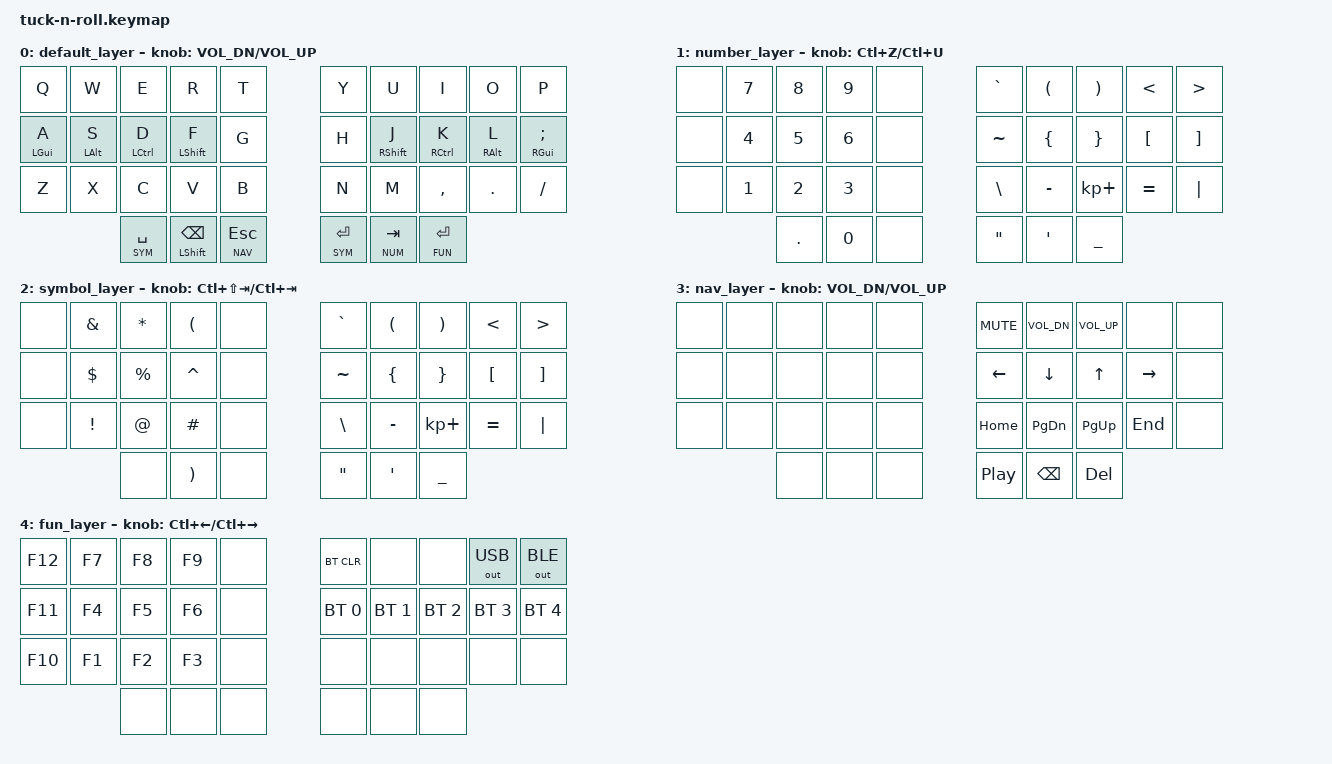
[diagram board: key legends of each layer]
#include <behaviors.dtsi>
#include <dt-bindings/zmk/keys.h>
#include <dt-bindings/zmk/bt.h>
#include <dt-bindings/zmk/outputs.h>

#define BASE 0
#define NUM 1
#define SYM 2
#define NAV 3
#define FUN 4


#define SPCTRL &sp LCTRL SPACE
#define SHFTAB &mt RSHFT TAB
#define BSPC_SHFT &mt LSHFT BSPC
#define SPACE_SYM &lt SYM SPACE
#define TAB_NUM &lt NUM TAB
#define RET_FUN &lt FUN RET
#define ESC_NAV &lt NAV ESC
#define RET_SYM &lt SYM RET

#define GUI_A &hm LGUI A
#define ALT_S &hm LALT S
#define CTRL_D &hm LCTRL D
#define SHFT_F &hm LSHFT F

#define SHFT_J &hm RSHFT J
#define CTRL_K &hm RCTRL K
#define ALT_L &hm RALT L
#define GUI_SEMI &hm RGUI SEMI

&lt {
	quick-tap-ms = <300>;
};

/ {
    combos {
      #include "combos.dtsi"
    };

    behaviors {
        sp: space_modtap {
            compatible = "zmk,behavior-hold-tap";
            label = "SPACE_MODTAP";
            #binding-cells = <2>;
            tapping-term-ms = <400>;
            quick_tap_ms = <0>;
            flavor = "tap-preferred";
            bindings = <&kp>, <&kp>;
        };

        hm: homerow_mods {
            compatible = "zmk,behavior-hold-tap";
            label = "HOMEROW_MODS";
                #binding-cells = <2>;
            tapping_term_ms = <200>;
            flavor = "tap-preferred";
            bindings = <&kp>, <&kp>;
        };
    };


	keymap {
		compatible = "zmk,keymap";

		default_layer {
			bindings = <
/* ╭─────────────┬─────────────┬─────────────┬─────────────┬─────────────╮                                                               ╭─────────────┬─────────────┬─────────────┬─────────────┬─────────────╮  */
        &kp Q        &kp W          &kp E         &kp R         &kp T                                                                         &kp Y         &kp U         &kp I         &kp O         &kp P
/* ├─────────────┼─────────────┼─────────────┼─────────────┼─────────────┤                                                               ├─────────────┼─────────────┼─────────────┼─────────────┼─────────────┤  */
        GUI_A        ALT_S          CTRL_D       SHFT_F         &kp G                                                                         &kp H         SHFT_J       CTRL_K         ALT_L        GUI_SEMI
/* ├─────────────┼─────────────┼─────────────┼─────────────┼─────────────┤                                                               ├─────────────┼─────────────┼─────────────┼─────────────┼─────────────┤  */
        &kp Z        &kp X          &kp C         &kp V         &kp B                                                                         &kp N         &kp M       &kp COMMA      &kp DOT       &kp FSLH
/* ╰─────────────┴─────────────┴─────────────┴─────────────┴─────────────┴─────────────┬─────────────╮       ╭─────────────┬─────────────┬─────────────┼─────────────┴─────────────┴─────────────┴─────────────╯  */
                                                               SPACE_SYM    BSPC_SHFT      ESC_NAV               RET_SYM       TAB_NUM       RET_FUN
//                                                         ╰─────────────┴─────────────┴─────────────╯       ╰─────────────┴─────────────┴─────────────╯
			>;

			sensor-bindings = <&inc_dec_kp C_VOL_DN C_VOL_UP>;
        };

		number_layer {
			bindings = <
/* ╭─────────────┬─────────────┬─────────────┬─────────────┬─────────────╮                                                               ╭─────────────┬─────────────┬─────────────┬─────────────┬─────────────╮  */
        &none         &kp N7       &kp N8        &kp N9         &none                                                                       &kp GRAVE     &kp LPAR      &kp RPAR       &kp LT        &kp GT
/* ├─────────────┼─────────────┼─────────────┼─────────────┼─────────────┤                                                               ├─────────────┼─────────────┼─────────────┼─────────────┼─────────────┤  */
        &none         &kp N4       &kp N5        &kp N6         &none                                                                       &kp TILDE     &kp LBRC      &kp RBRC      &kp LBKT      &kp RBKT
/* ├─────────────┼─────────────┼─────────────┼─────────────┼─────────────┤                                                               ├─────────────┼─────────────┼─────────────┼─────────────┼─────────────┤  */
        &none         &kp N1       &kp N2        &kp N3         &none                                                                        &kp BSLH     &kp MINUS    &kp KP_PLUS    &kp EQUAL     &kp PIPE
/* ╰─────────────┴─────────────┴─────────────┴─────────────┴─────────────┴─────────────┬─────────────╮       ╭─────────────┬─────────────┬─────────────┼─────────────┴─────────────┴─────────────┴─────────────╯  */
                                                               &kp DOT       &kp N0         &none                &kp DQT       &kp SQT      &kp UNDER
//                                                         ╰─────────────┴─────────────┴─────────────╯       ╰─────────────┴─────────────┴─────────────╯
			>;

			sensor-bindings = <&inc_dec_kp LC(Z) LC(U)>;
        };

		symbol_layer {
			bindings = <
/* ╭─────────────┬─────────────┬─────────────┬─────────────┬─────────────╮                                                               ╭─────────────┬─────────────┬─────────────┬─────────────┬─────────────╮  */
        &none     &kp AMPERSAND  &kp ASTERISK   &kp LPAR        &none                                                                       &kp GRAVE     &kp LPAR      &kp RPAR       &kp LT        &kp GT
/* ├─────────────┼─────────────┼─────────────┼─────────────┼─────────────┤                                                               ├─────────────┼─────────────┼─────────────┼─────────────┼─────────────┤  */
        &none      &kp DOLLAR    &kp PERCENT    &kp CARET       &none                                                                       &kp TILDE     &kp LBRC      &kp RBRC      &kp LBKT      &kp RBKT
/* ├─────────────┼─────────────┼─────────────┼─────────────┼─────────────┤                                                               ├─────────────┼─────────────┼─────────────┼─────────────┼─────────────┤  */
        &none       &kp EXCL       &kp AT       &kp HASH        &none                                                                        &kp BSLH     &kp MINUS    &kp KP_PLUS    &kp EQUAL     &kp PIPE
/* ╰─────────────┴─────────────┴─────────────┴─────────────┴─────────────┴─────────────┬─────────────╮       ╭─────────────┬─────────────┬─────────────┼─────────────┴─────────────┴─────────────┴─────────────╯  */
                                                                &none       &kp RPAR        &none                &kp DQT       &kp SQT      &kp UNDER
//                                                         ╰─────────────┴─────────────┴─────────────╯       ╰─────────────┴─────────────┴─────────────╯
			>;

			sensor-bindings = <&inc_dec_kp LC(LS(TAB)) LC(TAB)>;
        };

		nav_layer {
			bindings = <
/* ╭─────────────┬─────────────┬─────────────┬─────────────┬─────────────╮                                                               ╭─────────────┬─────────────┬─────────────┬─────────────┬─────────────╮  */
        &none         &none         &none         &none         &none                                                                      &kp C_MUTE    &kp C_VOL_DN  &kp C_VOL_UP      &none         &none
/* ├─────────────┼─────────────┼─────────────┼─────────────┼─────────────┤                                                               ├─────────────┼─────────────┼─────────────┼─────────────┼─────────────┤  */
        &none         &none         &none         &none         &none                                                                       &kp LEFT       &kp DOWN      &kp UP       &kp RIGHT       &none
/* ├─────────────┼─────────────┼─────────────┼─────────────┼─────────────┤                                                               ├─────────────┼─────────────┼─────────────┼─────────────┼─────────────┤  */
        &none         &none         &none         &none         &none                                                                       &kp HOME       &kp PG_DN    &kp PG_UP      &kp END        &none
/* ╰─────────────┴─────────────┴─────────────┴─────────────┴─────────────┴─────────────┬─────────────╮       ╭─────────────┬─────────────┬─────────────┼─────────────┴─────────────┴─────────────┴─────────────╯  */
                                                                &none         &none         &none               &kp C_PP       &kp BSPC      &kp DEL
//                                                         ╰─────────────┴─────────────┴─────────────╯       ╰─────────────┴─────────────┴─────────────╯
			>;

			sensor-bindings = <&inc_dec_kp C_VOL_DN C_VOL_UP>;
       };

	    fun_layer {
    		bindings = <
    /* ╭─────────────┬─────────────┬─────────────┬─────────────┬─────────────╮                                                               ╭─────────────┬─────────────┬─────────────┬─────────────┬─────────────╮  */
           &kp F12        &kp F7       &kp F8         &kp F9        &none                                                                       &bt BT_CLR      &none         &none     &out OUT_USB  &out OUT_BLE
    /* ├─────────────┼─────────────┼─────────────┼─────────────┼─────────────┤                                                               ├─────────────┼─────────────┼─────────────┼─────────────┼─────────────┤  */
           &kp F11        &kp F4       &kp F5         &kp F6        &none                                                                      &bt BT_SEL 0  &bt BT_SEL 1  &bt BT_SEL 2 &bt BT_SEL 3  &bt BT_SEL 4
    /* ├─────────────┼─────────────┼─────────────┼─────────────┼─────────────┤                                                               ├─────────────┼─────────────┼─────────────┼─────────────┼─────────────┤  */
           &kp F10        &kp F1       &kp F2         &kp F3        &none                                                                         &none         &none         &none         &none         &none
    /* ╰─────────────┴─────────────┴─────────────┴─────────────┴─────────────┴─────────────┬─────────────╮       ╭─────────────┬─────────────┬─────────────┼─────────────┴─────────────┴─────────────┴─────────────╯  */
                                                                    &none         &none         &none                  &none         &none         &none
    //                                                         ╰─────────────┴─────────────┴─────────────╯       ╰─────────────┴─────────────┴─────────────╯
    			>;

    			sensor-bindings = <&inc_dec_kp LC(LEFT) LC(RIGHT)>;
        };
    };
};
